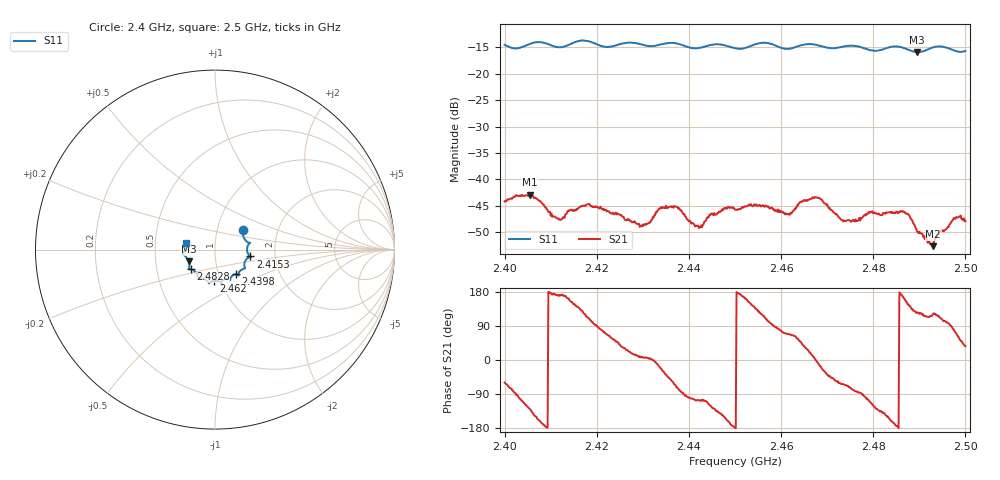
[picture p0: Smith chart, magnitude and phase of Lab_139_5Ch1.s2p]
# Hz S RI R 50
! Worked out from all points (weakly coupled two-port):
!   601 points, 2.4 GHz to 2.5 GHz, reference 50 ohm
!   highest |S21| = -42.87 dB at 2.4055 GHz (marker M1); lowest = -52.6 dB at 2.493 GHz (marker M2)
!   lowest |S11| = -15.9 dB at 2.4895 GHz (marker M3), VSWR 1.38, Z = 37 - j5.01 ohm
!   |S11| at or under -10 dB: start of sweep to end of sweep
!   S12 and S22 are empty: the file has one direction only
!   S11 on the Smith chart (normalised r, x): 2.4 GHz: 1.33, +0.29; 2.4153 GHz: 1.48, -0.12; 2.4398 GHz: 1.21, -0.34; 2.462 GHz: 0.93, -0.33; 2.4828 GHz: 0.74, -0.17; 2.5 GHz: 0.72, +0.06
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2.4e9  0.1551 0.1065  0.00313 -0.00536  0 0  0 0
2.4055e9  0.188 0.0382  -0.0046 -0.00552  0 0  0 0
2.411833e9  0.178 0.0026  -0.0041 0.000768  0 0  0 0
2.415333e9  0.1963 -0.0384  -0.00412 0.00298  0 0  0 0
2.416667e9  0.2021 -0.0424  -0.00368 0.00426  0 0  0 0
2.429833e9  0.1549 -0.109  0.00356 0.000514  0 0  0 0
2.433333e9  0.1309 -0.1337  0.00501 -0.00121  0 0  0 0
2.437333e9  0.1315 -0.1428  0.00167 -0.00525  0 0  0 0
2.439833e9  0.1155 -0.1365  -0.00056 -0.00409  0 0  0 0
2.4425e9  0.0919 -0.1509  -0.000995 -0.00338  0 0  0 0
2.445e9  0.0842 -0.1686  -0.00277 -0.0039  0 0  0 0
2.45e9  0.0648 -0.1623  -0.00518 -6.43e-05  0 0  0 0
2.462e9  -0.00507 -0.1732  0.00184 0.00447  0 0  0 0
2.466667e9  -0.0345 -0.188  0.00639 0.00156  0 0  0 0
2.473667e9  -0.0855 -0.1602  0.00176 -0.0037  0 0  0 0
2.482833e9  -0.1363 -0.1094  -0.0041 -0.00267  0 0  0 0
2.483333e9  -0.1399 -0.1093  -0.00433 -0.00224  0 0  0 0
2.487167e9  -0.1432 -0.0958  -0.00432 0.00204  0 0  0 0
2.4895e9  -0.1461 -0.066  -0.00188 0.00262  0 0  0 0
2.493e9  -0.1759 -0.0273  -0.00122 0.002  0 0  0 0
2.497667e9  -0.1656 0.000423  0.00103 0.00416  0 0  0 0
2.5e9  -0.1598 0.0388  0.00326 0.0024  0 0  0 0
